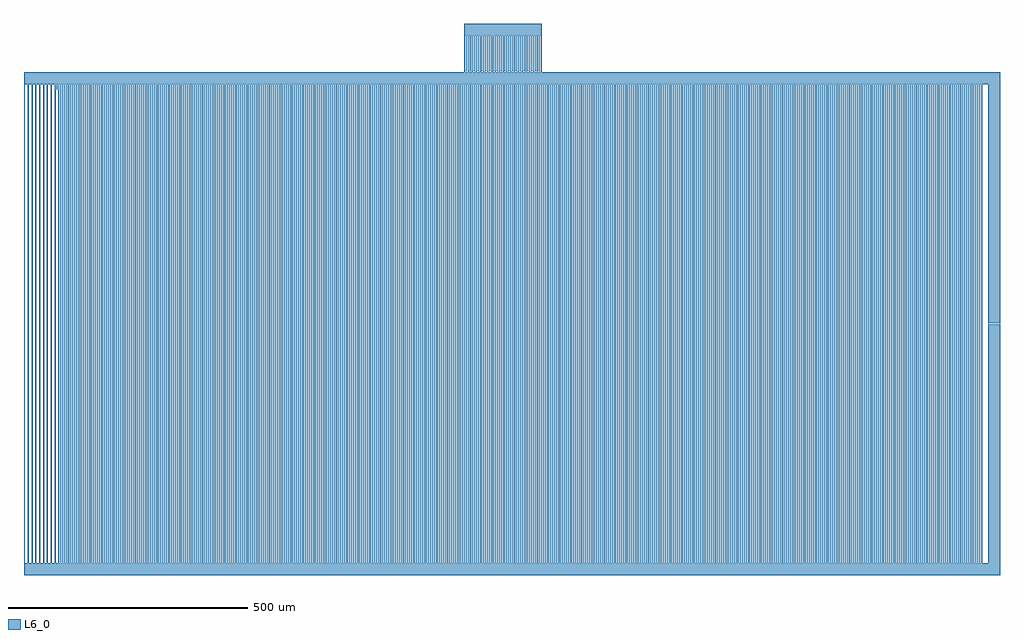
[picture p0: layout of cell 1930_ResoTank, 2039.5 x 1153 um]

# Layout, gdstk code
import gdstk
lib = gdstk.Library(unit=1e-6, precision=1e-09)
def P(c, l, *ps):  # polygons
    for p in ps: c.add(gdstk.Polygon(p, *l))
L6_0 = (6, 0)

c_1930_resotank = lib.new_cell('1930_ResoTank')
P(c_1930_resotank, L6_0, [(54,-7523.25),(54,-7448.25),(50,-7448.25),(50,-7423.25),(212,-7423.25),(212,-7448.25),(208,-7448.25),(208,-7523.25),(206,-7523.25),(206,-7448.25),(200,-7448.25),(200,-7523.25),(198,-7523.25),(198,-7448.25),(192,-7448.25),(192,-7523.25),(190,-7523.25),(190,-7448.25),(184,-7448.25),(184,-7523.25),(182,-7523.25),(182,-7448.25),(176,-7448.25),(176,-7523.25),(174,-7523.25),(174,-7448.25),(168,-7448.25),(168,-7523.25),(166,-7523.25),(166,-7448.25),(160,-7448.25),(160,-7523.25),(158,-7523.25),(158,-7448.25),(152,-7448.25),(152,-7523.25),(150,-7523.25),(150,-7448.25),(144,-7448.25),(144,-7523.25),(142,-7523.25),(142,-7448.25),(136,-7448.25),(136,-7523.25),(134,-7523.25),(134,-7448.25),(128,-7448.25),(128,-7523.25),(126,-7523.25),(126,-7448.25),(120,-7448.25),(120,-7523.25),(118,-7523.25),(118,-7448.25),(112,-7448.25),(112,-7523.25),(110,-7523.25),(110,-7448.25),(104,-7448.25),(104,-7523.25),(102,-7523.25),(102,-7448.25),(96,-7448.25),(96,-7523.25),(94,-7523.25),(94,-7448.25),(88,-7448.25),(88,-7523.25),(86,-7523.25),(86,-7448.25),(80,-7448.25),(80,-7523.25),(78,-7523.25),(78,-7448.25),(72,-7448.25),(72,-7523.25),(70,-7523.25),(70,-7448.25),(64,-7448.25),(64,-7523.25),(62,-7523.25),(62,-7448.25),(56,-7448.25),(56,-7523.25)],
  [(-794,-8549.75),(-794,-7549.75),(-800,-7549.75),(-800,-7560.948),(-802,-7560.948),(-802,-7549.75),(-870,-7549.75),(-870,-7524.75),(-544,-7524.75),(-544,-8549.75),(-546,-8549.75),(-546,-7549.75),(-552,-7549.75),(-552,-8549.75),(-554,-8549.75),(-554,-7549.75),(-560,-7549.75),(-560,-8549.75),(-562,-8549.75),(-562,-7549.75),(-568,-7549.75),(-568,-8549.75),(-570,-8549.75),(-570,-7549.75),(-576,-7549.75),(-576,-8549.75),(-578,-8549.75),(-578,-7549.75),(-584,-7549.75),(-584,-8549.75),(-586,-8549.75),(-586,-7549.75),(-592,-7549.75),(-592,-8549.75),(-594,-8549.75),(-594,-7549.75),(-600,-7549.75),(-600,-8549.75),(-602,-8549.75),(-602,-7549.75),(-608,-7549.75),(-608,-8549.75),(-610,-8549.75),(-610,-7549.75),(-616,-7549.75),(-616,-8549.75),(-618,-8549.75),(-618,-7549.75),(-624,-7549.75),(-624,-8549.75),(-626,-8549.75),(-626,-7549.75),(-632,-7549.75),(-632,-8549.75),(-634,-8549.75),(-634,-7549.75),(-640,-7549.75),(-640,-8549.75),(-642,-8549.75),(-642,-7549.75),(-648,-7549.75),(-648,-8549.75),(-650,-8549.75),(-650,-7549.75),(-656,-7549.75),(-656,-8549.75),(-658,-8549.75),(-658,-7549.75),(-664,-7549.75),(-664,-8549.75),(-666,-8549.75),(-666,-7549.75),(-672,-7549.75),(-672,-8549.75),(-674,-8549.75),(-674,-7549.75),(-680,-7549.75),(-680,-8549.75),(-682,-8549.75),(-682,-7549.75),(-688,-7549.75),(-688,-8549.75),(-690,-8549.75),(-690,-7549.75),(-696,-7549.75),(-696,-8549.75),(-698,-8549.75),(-698,-7549.75),(-704,-7549.75),(-704,-8549.75),(-706,-8549.75),(-706,-7549.75),(-712,-7549.75),(-712,-8549.75),(-714,-8549.75),(-714,-7549.75),(-720,-7549.75),(-720,-8549.75),(-722,-8549.75),(-722,-7549.75),(-728,-7549.75),(-728,-8549.75),(-730,-8549.75),(-730,-7549.75),(-736,-7549.75),(-736,-8549.75),(-738,-8549.75),(-738,-7549.75),(-744,-7549.75),(-744,-8549.75),(-746,-8549.75),(-746,-7549.75),(-752,-7549.75),(-752,-8549.75),(-754,-8549.75),(-754,-7549.75),(-760,-7549.75),(-760,-8549.75),(-762,-8549.75),(-762,-7549.75),(-768,-7549.75),(-768,-8549.75),(-770,-8549.75),(-770,-7549.75),(-776,-7549.75),(-776,-8549.75),(-778,-8549.75),(-778,-7549.75),(-784,-7549.75),(-784,-8549.75),(-786,-8549.75),(-786,-7549.75),(-792,-7549.75),(-792,-8549.75)],
  [(-538,-8549.75),(-538,-7549.75),(-544,-7549.75),(-544,-7524.75),(-280,-7524.75),(-280,-8549.75),(-282,-8549.75),(-282,-7549.75),(-288,-7549.75),(-288,-8549.75),(-290,-8549.75),(-290,-7549.75),(-296,-7549.75),(-296,-8549.75),(-298,-8549.75),(-298,-7549.75),(-304,-7549.75),(-304,-8549.75),(-306,-8549.75),(-306,-7549.75),(-312,-7549.75),(-312,-8549.75),(-314,-8549.75),(-314,-7549.75),(-320,-7549.75),(-320,-8549.75),(-322,-8549.75),(-322,-7549.75),(-328,-7549.75),(-328,-8549.75),(-330,-8549.75),(-330,-7549.75),(-336,-7549.75),(-336,-8549.75),(-338,-8549.75),(-338,-7549.75),(-344,-7549.75),(-344,-8549.75),(-346,-8549.75),(-346,-7549.75),(-352,-7549.75),(-352,-8549.75),(-354,-8549.75),(-354,-7549.75),(-360,-7549.75),(-360,-8549.75),(-362,-8549.75),(-362,-7549.75),(-368,-7549.75),(-368,-8549.75),(-370,-8549.75),(-370,-7549.75),(-376,-7549.75),(-376,-8549.75),(-378,-8549.75),(-378,-7549.75),(-384,-7549.75),(-384,-8549.75),(-386,-8549.75),(-386,-7549.75),(-392,-7549.75),(-392,-8549.75),(-394,-8549.75),(-394,-7549.75),(-400,-7549.75),(-400,-8549.75),(-402,-8549.75),(-402,-7549.75),(-408,-7549.75),(-408,-8549.75),(-410,-8549.75),(-410,-7549.75),(-416,-7549.75),(-416,-8549.75),(-418,-8549.75),(-418,-7549.75),(-424,-7549.75),(-424,-8549.75),(-426,-8549.75),(-426,-7549.75),(-432,-7549.75),(-432,-8549.75),(-434,-8549.75),(-434,-7549.75),(-440,-7549.75),(-440,-8549.75),(-442,-8549.75),(-442,-7549.75),(-448,-7549.75),(-448,-8549.75),(-450,-8549.75),(-450,-7549.75),(-456,-7549.75),(-456,-8549.75),(-458,-8549.75),(-458,-7549.75),(-464,-7549.75),(-464,-8549.75),(-466,-8549.75),(-466,-7549.75),(-472,-7549.75),(-472,-8549.75),(-474,-8549.75),(-474,-7549.75),(-480,-7549.75),(-480,-8549.75),(-482,-8549.75),(-482,-7549.75),(-488,-7549.75),(-488,-8549.75),(-490,-8549.75),(-490,-7549.75),(-496,-7549.75),(-496,-8549.75),(-498,-8549.75),(-498,-7549.75),(-504,-7549.75),(-504,-8549.75),(-506,-8549.75),(-506,-7549.75),(-512,-7549.75),(-512,-8549.75),(-514,-8549.75),(-514,-7549.75),(-520,-7549.75),(-520,-8549.75),(-522,-8549.75),(-522,-7549.75),(-528,-7549.75),(-528,-8549.75),(-530,-8549.75),(-530,-7549.75),(-536,-7549.75),(-536,-8549.75)],
  [(-274,-8549.75),(-274,-7549.75),(-280,-7549.75),(-280,-7524.75),(-16,-7524.75),(-16,-8549.75),(-18,-8549.75),(-18,-7549.75),(-24,-7549.75),(-24,-8549.75),(-26,-8549.75),(-26,-7549.75),(-32,-7549.75),(-32,-8549.75),(-34,-8549.75),(-34,-7549.75),(-40,-7549.75),(-40,-8549.75),(-42,-8549.75),(-42,-7549.75),(-48,-7549.75),(-48,-8549.75),(-50,-8549.75),(-50,-7549.75),(-56,-7549.75),(-56,-8549.75),(-58,-8549.75),(-58,-7549.75),(-64,-7549.75),(-64,-8549.75),(-66,-8549.75),(-66,-7549.75),(-72,-7549.75),(-72,-8549.75),(-74,-8549.75),(-74,-7549.75),(-80,-7549.75),(-80,-8549.75),(-82,-8549.75),(-82,-7549.75),(-88,-7549.75),(-88,-8549.75),(-90,-8549.75),(-90,-7549.75),(-96,-7549.75),(-96,-8549.75),(-98,-8549.75),(-98,-7549.75),(-104,-7549.75),(-104,-8549.75),(-106,-8549.75),(-106,-7549.75),(-112,-7549.75),(-112,-8549.75),(-114,-8549.75),(-114,-7549.75),(-120,-7549.75),(-120,-8549.75),(-122,-8549.75),(-122,-7549.75),(-128,-7549.75),(-128,-8549.75),(-130,-8549.75),(-130,-7549.75),(-136,-7549.75),(-136,-8549.75),(-138,-8549.75),(-138,-7549.75),(-144,-7549.75),(-144,-8549.75),(-146,-8549.75),(-146,-7549.75),(-152,-7549.75),(-152,-8549.75),(-154,-8549.75),(-154,-7549.75),(-160,-7549.75),(-160,-8549.75),(-162,-8549.75),(-162,-7549.75),(-168,-7549.75),(-168,-8549.75),(-170,-8549.75),(-170,-7549.75),(-176,-7549.75),(-176,-8549.75),(-178,-8549.75),(-178,-7549.75),(-184,-7549.75),(-184,-8549.75),(-186,-8549.75),(-186,-7549.75),(-192,-7549.75),(-192,-8549.75),(-194,-8549.75),(-194,-7549.75),(-200,-7549.75),(-200,-8549.75),(-202,-8549.75),(-202,-7549.75),(-208,-7549.75),(-208,-8549.75),(-210,-8549.75),(-210,-7549.75),(-216,-7549.75),(-216,-8549.75),(-218,-8549.75),(-218,-7549.75),(-224,-7549.75),(-224,-8549.75),(-226,-8549.75),(-226,-7549.75),(-232,-7549.75),(-232,-8549.75),(-234,-8549.75),(-234,-7549.75),(-240,-7549.75),(-240,-8549.75),(-242,-8549.75),(-242,-7549.75),(-248,-7549.75),(-248,-8549.75),(-250,-8549.75),(-250,-7549.75),(-256,-7549.75),(-256,-8549.75),(-258,-8549.75),(-258,-7549.75),(-264,-7549.75),(-264,-8549.75),(-266,-8549.75),(-266,-7549.75),(-272,-7549.75),(-272,-8549.75)],
  [(-10,-8549.75),(-10,-7549.75),(-16,-7549.75),(-16,-7524.75),(50,-7524.75),(50,-7449.75),(52,-7449.75),(52,-7524.75),(58,-7524.75),(58,-7449.75),(60,-7449.75),(60,-7524.75),(66,-7524.75),(66,-7449.75),(68,-7449.75),(68,-7524.75),(74,-7524.75),(74,-7449.75),(76,-7449.75),(76,-7524.75),(82,-7524.75),(82,-7449.75),(84,-7449.75),(84,-7524.75),(90,-7524.75),(90,-7449.75),(92,-7449.75),(92,-7524.75),(98,-7524.75),(98,-7449.75),(100,-7449.75),(100,-7524.75),(106,-7524.75),(106,-7449.75),(108,-7449.75),(108,-7524.75),(114,-7524.75),(114,-7449.75),(116,-7449.75),(116,-7524.75),(122,-7524.75),(122,-7449.75),(124,-7449.75),(124,-7524.75),(130,-7524.75),(130,-7449.75),(132,-7449.75),(132,-7524.75),(138,-7524.75),(138,-7449.75),(140,-7449.75),(140,-7524.75),(146,-7524.75),(146,-7449.75),(148,-7449.75),(148,-7549.75),(144,-7549.75),(144,-8549.75),(142,-8549.75),(142,-7549.75),(136,-7549.75),(136,-8549.75),(134,-8549.75),(134,-7549.75),(128,-7549.75),(128,-8549.75),(126,-8549.75),(126,-7549.75),(120,-7549.75),(120,-8549.75),(118,-8549.75),(118,-7549.75),(112,-7549.75),(112,-8549.75),(110,-8549.75),(110,-7549.75),(104,-7549.75),(104,-8549.75),(102,-8549.75),(102,-7549.75),(96,-7549.75),(96,-8549.75),(94,-8549.75),(94,-7549.75),(88,-7549.75),(88,-8549.75),(86,-8549.75),(86,-7549.75),(80,-7549.75),(80,-8549.75),(78,-8549.75),(78,-7549.75),(72,-7549.75),(72,-8549.75),(70,-8549.75),(70,-7549.75),(64,-7549.75),(64,-8549.75),(62,-8549.75),(62,-7549.75),(56,-7549.75),(56,-8549.75),(54,-8549.75),(54,-7549.75),(48,-7549.75),(48,-8549.75),(46,-8549.75),(46,-7549.75),(40,-7549.75),(40,-8549.75),(38,-8549.75),(38,-7549.75),(32,-7549.75),(32,-8549.75),(30,-8549.75),(30,-7549.75),(24,-7549.75),(24,-8549.75),(22,-8549.75),(22,-7549.75),(16,-7549.75),(16,-8549.75),(14,-8549.75),(14,-7549.75),(8,-7549.75),(8,-8549.75),(6,-8549.75),(6,-7549.75),(0,-7549.75),(0,-8549.75),(-2,-8549.75),(-2,-7549.75),(-8,-7549.75),(-8,-8549.75)],
  [(150,-8549.75),(150,-7549.75),(148,-7549.75),(148,-7524.75),(154,-7524.75),(154,-7449.75),(156,-7449.75),(156,-7524.75),(162,-7524.75),(162,-7449.75),(164,-7449.75),(164,-7524.75),(170,-7524.75),(170,-7449.75),(172,-7449.75),(172,-7524.75),(178,-7524.75),(178,-7449.75),(180,-7449.75),(180,-7524.75),(186,-7524.75),(186,-7449.75),(188,-7449.75),(188,-7524.75),(194,-7524.75),(194,-7449.75),(196,-7449.75),(196,-7524.75),(202,-7524.75),(202,-7449.75),(204,-7449.75),(204,-7524.75),(210,-7524.75),(210,-7449.75),(212,-7449.75),(212,-7524.75),(344,-7524.75),(344,-8549.75),(342,-8549.75),(342,-7549.75),(336,-7549.75),(336,-8549.75),(334,-8549.75),(334,-7549.75),(328,-7549.75),(328,-8549.75),(326,-8549.75),(326,-7549.75),(320,-7549.75),(320,-8549.75),(318,-8549.75),(318,-7549.75),(312,-7549.75),(312,-8549.75),(310,-8549.75),(310,-7549.75),(304,-7549.75),(304,-8549.75),(302,-8549.75),(302,-7549.75),(296,-7549.75),(296,-8549.75),(294,-8549.75),(294,-7549.75),(288,-7549.75),(288,-8549.75),(286,-8549.75),(286,-7549.75),(280,-7549.75),(280,-8549.75),(278,-8549.75),(278,-7549.75),(272,-7549.75),(272,-8549.75),(270,-8549.75),(270,-7549.75),(264,-7549.75),(264,-8549.75),(262,-8549.75),(262,-7549.75),(256,-7549.75),(256,-8549.75),(254,-8549.75),(254,-7549.75),(248,-7549.75),(248,-8549.75),(246,-8549.75),(246,-7549.75),(240,-7549.75),(240,-8549.75),(238,-8549.75),(238,-7549.75),(232,-7549.75),(232,-8549.75),(230,-8549.75),(230,-7549.75),(224,-7549.75),(224,-8549.75),(222,-8549.75),(222,-7549.75),(216,-7549.75),(216,-8549.75),(214,-8549.75),(214,-7549.75),(208,-7549.75),(208,-8549.75),(206,-8549.75),(206,-7549.75),(200,-7549.75),(200,-8549.75),(198,-8549.75),(198,-7549.75),(192,-7549.75),(192,-8549.75),(190,-8549.75),(190,-7549.75),(184,-7549.75),(184,-8549.75),(182,-8549.75),(182,-7549.75),(176,-7549.75),(176,-8549.75),(174,-8549.75),(174,-7549.75),(168,-7549.75),(168,-8549.75),(166,-8549.75),(166,-7549.75),(160,-7549.75),(160,-8549.75),(158,-8549.75),(158,-7549.75),(152,-7549.75),(152,-8549.75)],
  [(350,-8549.75),(350,-7549.75),(344,-7549.75),(344,-7524.75),(608,-7524.75),(608,-8549.75),(606,-8549.75),(606,-7549.75),(600,-7549.75),(600,-8549.75),(598,-8549.75),(598,-7549.75),(592,-7549.75),(592,-8549.75),(590,-8549.75),(590,-7549.75),(584,-7549.75),(584,-8549.75),(582,-8549.75),(582,-7549.75),(576,-7549.75),(576,-8549.75),(574,-8549.75),(574,-7549.75),(568,-7549.75),(568,-8549.75),(566,-8549.75),(566,-7549.75),(560,-7549.75),(560,-8549.75),(558,-8549.75),(558,-7549.75),(552,-7549.75),(552,-8549.75),(550,-8549.75),(550,-7549.75),(544,-7549.75),(544,-8549.75),(542,-8549.75),(542,-7549.75),(536,-7549.75),(536,-8549.75),(534,-8549.75),(534,-7549.75),(528,-7549.75),(528,-8549.75),(526,-8549.75),(526,-7549.75),(520,-7549.75),(520,-8549.75),(518,-8549.75),(518,-7549.75),(512,-7549.75),(512,-8549.75),(510,-8549.75),(510,-7549.75),(504,-7549.75),(504,-8549.75),(502,-8549.75),(502,-7549.75),(496,-7549.75),(496,-8549.75),(494,-8549.75),(494,-7549.75),(488,-7549.75),(488,-8549.75),(486,-8549.75),(486,-7549.75),(480,-7549.75),(480,-8549.75),(478,-8549.75),(478,-7549.75),(472,-7549.75),(472,-8549.75),(470,-8549.75),(470,-7549.75),(464,-7549.75),(464,-8549.75),(462,-8549.75),(462,-7549.75),(456,-7549.75),(456,-8549.75),(454,-8549.75),(454,-7549.75),(448,-7549.75),(448,-8549.75),(446,-8549.75),(446,-7549.75),(440,-7549.75),(440,-8549.75),(438,-8549.75),(438,-7549.75),(432,-7549.75),(432,-8549.75),(430,-8549.75),(430,-7549.75),(424,-7549.75),(424,-8549.75),(422,-8549.75),(422,-7549.75),(416,-7549.75),(416,-8549.75),(414,-8549.75),(414,-7549.75),(408,-7549.75),(408,-8549.75),(406,-8549.75),(406,-7549.75),(400,-7549.75),(400,-8549.75),(398,-8549.75),(398,-7549.75),(392,-7549.75),(392,-8549.75),(390,-8549.75),(390,-7549.75),(384,-7549.75),(384,-8549.75),(382,-8549.75),(382,-7549.75),(376,-7549.75),(376,-8549.75),(374,-8549.75),(374,-7549.75),(368,-7549.75),(368,-8549.75),(366,-8549.75),(366,-7549.75),(360,-7549.75),(360,-8549.75),(358,-8549.75),(358,-7549.75),(352,-7549.75),(352,-8549.75)],
  [(614,-8549.75),(614,-7549.75),(608,-7549.75),(608,-7524.75),(872,-7524.75),(872,-8549.75),(870,-8549.75),(870,-7549.75),(864,-7549.75),(864,-8549.75),(862,-8549.75),(862,-7549.75),(856,-7549.75),(856,-8549.75),(854,-8549.75),(854,-7549.75),(848,-7549.75),(848,-8549.75),(846,-8549.75),(846,-7549.75),(840,-7549.75),(840,-8549.75),(838,-8549.75),(838,-7549.75),(832,-7549.75),(832,-8549.75),(830,-8549.75),(830,-7549.75),(824,-7549.75),(824,-8549.75),(822,-8549.75),(822,-7549.75),(816,-7549.75),(816,-8549.75),(814,-8549.75),(814,-7549.75),(808,-7549.75),(808,-8549.75),(806,-8549.75),(806,-7549.75),(800,-7549.75),(800,-8549.75),(798,-8549.75),(798,-7549.75),(792,-7549.75),(792,-8549.75),(790,-8549.75),(790,-7549.75),(784,-7549.75),(784,-8549.75),(782,-8549.75),(782,-7549.75),(776,-7549.75),(776,-8549.75),(774,-8549.75),(774,-7549.75),(768,-7549.75),(768,-8549.75),(766,-8549.75),(766,-7549.75),(760,-7549.75),(760,-8549.75),(758,-8549.75),(758,-7549.75),(752,-7549.75),(752,-8549.75),(750,-8549.75),(750,-7549.75),(744,-7549.75),(744,-8549.75),(742,-8549.75),(742,-7549.75),(736,-7549.75),(736,-8549.75),(734,-8549.75),(734,-7549.75),(728,-7549.75),(728,-8549.75),(726,-8549.75),(726,-7549.75),(720,-7549.75),(720,-8549.75),(718,-8549.75),(718,-7549.75),(712,-7549.75),(712,-8549.75),(710,-8549.75),(710,-7549.75),(704,-7549.75),(704,-8549.75),(702,-8549.75),(702,-7549.75),(696,-7549.75),(696,-8549.75),(694,-8549.75),(694,-7549.75),(688,-7549.75),(688,-8549.75),(686,-8549.75),(686,-7549.75),(680,-7549.75),(680,-8549.75),(678,-8549.75),(678,-7549.75),(672,-7549.75),(672,-8549.75),(670,-8549.75),(670,-7549.75),(664,-7549.75),(664,-8549.75),(662,-8549.75),(662,-7549.75),(656,-7549.75),(656,-8549.75),(654,-8549.75),(654,-7549.75),(648,-7549.75),(648,-8549.75),(646,-8549.75),(646,-7549.75),(640,-7549.75),(640,-8549.75),(638,-8549.75),(638,-7549.75),(632,-7549.75),(632,-8549.75),(630,-8549.75),(630,-7549.75),(624,-7549.75),(624,-8549.75),(622,-8549.75),(622,-7549.75),(616,-7549.75),(616,-8549.75)],
  [(878,-8549.75),(878,-7549.75),(872,-7549.75),(872,-7524.75),(1169.5,-7524.75),(1169.5,-8049.5),(1144.5,-8049.5),(1144.5,-7549.75),(1128,-7549.75),(1128,-8549.75),(1126,-8549.75),(1126,-7549.75),(1120,-7549.75),(1120,-8549.75),(1118,-8549.75),(1118,-7549.75),(1112,-7549.75),(1112,-8549.75),(1110,-8549.75),(1110,-7549.75),(1104,-7549.75),(1104,-8549.75),(1102,-8549.75),(1102,-7549.75),(1096,-7549.75),(1096,-8549.75),(1094,-8549.75),(1094,-7549.75),(1088,-7549.75),(1088,-8549.75),(1086,-8549.75),(1086,-7549.75),(1080,-7549.75),(1080,-8549.75),(1078,-8549.75),(1078,-7549.75),(1072,-7549.75),(1072,-8549.75),(1070,-8549.75),(1070,-7549.75),(1064,-7549.75),(1064,-8549.75),(1062,-8549.75),(1062,-7549.75),(1056,-7549.75),(1056,-8549.75),(1054,-8549.75),(1054,-7549.75),(1048,-7549.75),(1048,-8549.75),(1046,-8549.75),(1046,-7549.75),(1040,-7549.75),(1040,-8549.75),(1038,-8549.75),(1038,-7549.75),(1032,-7549.75),(1032,-8549.75),(1030,-8549.75),(1030,-7549.75),(1024,-7549.75),(1024,-8549.75),(1022,-8549.75),(1022,-7549.75),(1016,-7549.75),(1016,-8549.75),(1014,-8549.75),(1014,-7549.75),(1008,-7549.75),(1008,-8549.75),(1006,-8549.75),(1006,-7549.75),(1000,-7549.75),(1000,-8549.75),(998,-8549.75),(998,-7549.75),(992,-7549.75),(992,-8549.75),(990,-8549.75),(990,-7549.75),(984,-7549.75),(984,-8549.75),(982,-8549.75),(982,-7549.75),(976,-7549.75),(976,-8549.75),(974,-8549.75),(974,-7549.75),(968,-7549.75),(968,-8549.75),(966,-8549.75),(966,-7549.75),(960,-7549.75),(960,-8549.75),(958,-8549.75),(958,-7549.75),(952,-7549.75),(952,-8549.75),(950,-8549.75),(950,-7549.75),(944,-7549.75),(944,-8549.75),(942,-8549.75),(942,-7549.75),(936,-7549.75),(936,-8549.75),(934,-8549.75),(934,-7549.75),(928,-7549.75),(928,-8549.75),(926,-8549.75),(926,-7549.75),(920,-7549.75),(920,-8549.75),(918,-8549.75),(918,-7549.75),(912,-7549.75),(912,-8549.75),(910,-8549.75),(910,-7549.75),(904,-7549.75),(904,-8549.75),(902,-8549.75),(902,-7549.75),(896,-7549.75),(896,-8549.75),(894,-8549.75),(894,-7549.75),(888,-7549.75),(888,-8549.75),(886,-8549.75),(886,-7549.75),(880,-7549.75),(880,-8549.75)],
  [(-870,-8576.25),(-870,-7551.25),(-868,-7551.25),(-868,-8551.25),(-862,-8551.25),(-862,-7551.25),(-860,-7551.25),(-860,-8551.25),(-854,-8551.25),(-854,-7551.25),(-852,-7551.25),(-852,-8551.25),(-846,-8551.25),(-846,-7551.25),(-844,-7551.25),(-844,-8551.25),(-838,-8551.25),(-838,-7551.25),(-836,-7551.25),(-836,-8551.25),(-830,-8551.25),(-830,-7551.25),(-828,-7551.25),(-828,-8551.25),(-822,-8551.25),(-822,-7551.25),(-820,-7551.25),(-820,-8551.25),(-814,-8551.25),(-814,-7551.25),(-812,-7551.25),(-812,-8551.25),(-806,-8551.25),(-806,-7551.25),(-804,-7551.25),(-804,-8551.25),(-798,-8551.25),(-798,-7551.25),(-796,-7551.25),(-796,-8551.25),(-790,-8551.25),(-790,-7551.25),(-788,-7551.25),(-788,-8551.25),(-782,-8551.25),(-782,-7551.25),(-780,-7551.25),(-780,-8551.25),(-774,-8551.25),(-774,-7551.25),(-772,-7551.25),(-772,-8551.25),(-766,-8551.25),(-766,-7551.25),(-764,-7551.25),(-764,-8551.25),(-758,-8551.25),(-758,-7551.25),(-756,-7551.25),(-756,-8551.25),(-750,-8551.25),(-750,-7551.25),(-748,-7551.25),(-748,-8551.25),(-742,-8551.25),(-742,-7551.25),(-740,-7551.25),(-740,-8551.25),(-734,-8551.25),(-734,-7551.25),(-732,-7551.25),(-732,-8551.25),(-726,-8551.25),(-726,-7551.25),(-724,-7551.25),(-724,-8551.25),(-718,-8551.25),(-718,-7551.25),(-716,-7551.25),(-716,-8551.25),(-710,-8551.25),(-710,-7551.25),(-708,-7551.25),(-708,-8551.25),(-702,-8551.25),(-702,-7551.25),(-700,-7551.25),(-700,-8551.25),(-694,-8551.25),(-694,-7551.25),(-692,-7551.25),(-692,-8551.25),(-686,-8551.25),(-686,-7551.25),(-684,-7551.25),(-684,-8551.25),(-678,-8551.25),(-678,-7551.25),(-676,-7551.25),(-676,-8551.25),(-670,-8551.25),(-670,-7551.25),(-668,-7551.25),(-668,-8551.25),(-662,-8551.25),(-662,-7551.25),(-660,-7551.25),(-660,-8551.25),(-654,-8551.25),(-654,-7551.25),(-652,-7551.25),(-652,-8551.25),(-646,-8551.25),(-646,-7551.25),(-644,-7551.25),(-644,-8551.25),(-638,-8551.25),(-638,-7551.25),(-636,-7551.25),(-636,-8551.25),(-630,-8551.25),(-630,-7551.25),(-628,-7551.25),(-628,-8551.25),(-622,-8551.25),(-622,-8576.25)],
  [(-622,-8576.25),(-622,-7551.25),(-620,-7551.25),(-620,-8551.25),(-614,-8551.25),(-614,-7551.25),(-612,-7551.25),(-612,-8551.25),(-606,-8551.25),(-606,-7551.25),(-604,-7551.25),(-604,-8551.25),(-598,-8551.25),(-598,-7551.25),(-596,-7551.25),(-596,-8551.25),(-590,-8551.25),(-590,-7551.25),(-588,-7551.25),(-588,-8551.25),(-582,-8551.25),(-582,-7551.25),(-580,-7551.25),(-580,-8551.25),(-574,-8551.25),(-574,-7551.25),(-572,-7551.25),(-572,-8551.25),(-566,-8551.25),(-566,-7551.25),(-564,-7551.25),(-564,-8551.25),(-558,-8551.25),(-558,-7551.25),(-556,-7551.25),(-556,-8551.25),(-550,-8551.25),(-550,-7551.25),(-548,-7551.25),(-548,-8551.25),(-542,-8551.25),(-542,-7551.25),(-540,-7551.25),(-540,-8551.25),(-534,-8551.25),(-534,-7551.25),(-532,-7551.25),(-532,-8551.25),(-526,-8551.25),(-526,-7551.25),(-524,-7551.25),(-524,-8551.25),(-518,-8551.25),(-518,-7551.25),(-516,-7551.25),(-516,-8551.25),(-510,-8551.25),(-510,-7551.25),(-508,-7551.25),(-508,-8551.25),(-502,-8551.25),(-502,-7551.25),(-500,-7551.25),(-500,-8551.25),(-494,-8551.25),(-494,-7551.25),(-492,-7551.25),(-492,-8551.25),(-486,-8551.25),(-486,-7551.25),(-484,-7551.25),(-484,-8551.25),(-478,-8551.25),(-478,-7551.25),(-476,-7551.25),(-476,-8551.25),(-470,-8551.25),(-470,-7551.25),(-468,-7551.25),(-468,-8551.25),(-462,-8551.25),(-462,-7551.25),(-460,-7551.25),(-460,-8551.25),(-454,-8551.25),(-454,-7551.25),(-452,-7551.25),(-452,-8551.25),(-446,-8551.25),(-446,-7551.25),(-444,-7551.25),(-444,-8551.25),(-438,-8551.25),(-438,-7551.25),(-436,-7551.25),(-436,-8551.25),(-430,-8551.25),(-430,-7551.25),(-428,-7551.25),(-428,-8551.25),(-422,-8551.25),(-422,-7551.25),(-420,-7551.25),(-420,-8551.25),(-414,-8551.25),(-414,-7551.25),(-412,-7551.25),(-412,-8551.25),(-406,-8551.25),(-406,-7551.25),(-404,-7551.25),(-404,-8551.25),(-398,-8551.25),(-398,-7551.25),(-396,-7551.25),(-396,-8551.25),(-390,-8551.25),(-390,-7551.25),(-388,-7551.25),(-388,-8551.25),(-382,-8551.25),(-382,-7551.25),(-380,-7551.25),(-380,-8551.25),(-374,-8551.25),(-374,-7551.25),(-372,-7551.25),(-372,-8576.25)],
  [(-372,-8576.25),(-372,-8551.25),(-366,-8551.25),(-366,-7551.25),(-364,-7551.25),(-364,-8551.25),(-358,-8551.25),(-358,-7551.25),(-356,-7551.25),(-356,-8551.25),(-350,-8551.25),(-350,-7551.25),(-348,-7551.25),(-348,-8551.25),(-342,-8551.25),(-342,-7551.25),(-340,-7551.25),(-340,-8551.25),(-334,-8551.25),(-334,-7551.25),(-332,-7551.25),(-332,-8551.25),(-326,-8551.25),(-326,-7551.25),(-324,-7551.25),(-324,-8551.25),(-318,-8551.25),(-318,-7551.25),(-316,-7551.25),(-316,-8551.25),(-310,-8551.25),(-310,-7551.25),(-308,-7551.25),(-308,-8551.25),(-302,-8551.25),(-302,-7551.25),(-300,-7551.25),(-300,-8551.25),(-294,-8551.25),(-294,-7551.25),(-292,-7551.25),(-292,-8551.25),(-286,-8551.25),(-286,-7551.25),(-284,-7551.25),(-284,-8551.25),(-278,-8551.25),(-278,-7551.25),(-276,-7551.25),(-276,-8551.25),(-270,-8551.25),(-270,-7551.25),(-268,-7551.25),(-268,-8551.25),(-262,-8551.25),(-262,-7551.25),(-260,-7551.25),(-260,-8551.25),(-254,-8551.25),(-254,-7551.25),(-252,-7551.25),(-252,-8551.25),(-246,-8551.25),(-246,-7551.25),(-244,-7551.25),(-244,-8551.25),(-238,-8551.25),(-238,-7551.25),(-236,-7551.25),(-236,-8551.25),(-230,-8551.25),(-230,-7551.25),(-228,-7551.25),(-228,-8551.25),(-222,-8551.25),(-222,-7551.25),(-220,-7551.25),(-220,-8551.25),(-214,-8551.25),(-214,-7551.25),(-212,-7551.25),(-212,-8551.25),(-206,-8551.25),(-206,-7551.25),(-204,-7551.25),(-204,-8551.25),(-198,-8551.25),(-198,-7551.25),(-196,-7551.25),(-196,-8551.25),(-190,-8551.25),(-190,-7551.25),(-188,-7551.25),(-188,-8551.25),(-182,-8551.25),(-182,-7551.25),(-180,-7551.25),(-180,-8551.25),(-174,-8551.25),(-174,-7551.25),(-172,-7551.25),(-172,-8551.25),(-166,-8551.25),(-166,-7551.25),(-164,-7551.25),(-164,-8551.25),(-158,-8551.25),(-158,-7551.25),(-156,-7551.25),(-156,-8551.25),(-150,-8551.25),(-150,-7551.25),(-148,-7551.25),(-148,-8551.25),(-142,-8551.25),(-142,-7551.25),(-140,-7551.25),(-140,-8551.25),(-134,-8551.25),(-134,-7551.25),(-132,-7551.25),(-132,-8551.25),(-126,-8551.25),(-126,-7551.25),(-124,-7551.25),(-124,-8551.25),(-118,-8551.25),(-118,-8576.25)],
  [(-118,-8576.25),(-118,-7551.25),(-116,-7551.25),(-116,-8551.25),(-110,-8551.25),(-110,-7551.25),(-108,-7551.25),(-108,-8551.25),(-102,-8551.25),(-102,-7551.25),(-100,-7551.25),(-100,-8551.25),(-94,-8551.25),(-94,-7551.25),(-92,-7551.25),(-92,-8551.25),(-86,-8551.25),(-86,-7551.25),(-84,-7551.25),(-84,-8551.25),(-78,-8551.25),(-78,-7551.25),(-76,-7551.25),(-76,-8551.25),(-70,-8551.25),(-70,-7551.25),(-68,-7551.25),(-68,-8551.25),(-62,-8551.25),(-62,-7551.25),(-60,-7551.25),(-60,-8551.25),(-54,-8551.25),(-54,-7551.25),(-52,-7551.25),(-52,-8551.25),(-46,-8551.25),(-46,-7551.25),(-44,-7551.25),(-44,-8551.25),(-38,-8551.25),(-38,-7551.25),(-36,-7551.25),(-36,-8551.25),(-30,-8551.25),(-30,-7551.25),(-28,-7551.25),(-28,-8551.25),(-22,-8551.25),(-22,-7551.25),(-20,-7551.25),(-20,-8551.25),(-14,-8551.25),(-14,-7551.25),(-12,-7551.25),(-12,-8551.25),(-6,-8551.25),(-6,-7551.25),(-4,-7551.25),(-4,-8551.25),(2,-8551.25),(2,-7551.25),(4,-7551.25),(4,-8551.25),(10,-8551.25),(10,-7551.25),(12,-7551.25),(12,-8551.25),(18,-8551.25),(18,-7551.25),(20,-7551.25),(20,-8551.25),(26,-8551.25),(26,-7551.25),(28,-7551.25),(28,-8551.25),(34,-8551.25),(34,-7551.25),(36,-7551.25),(36,-8551.25),(42,-8551.25),(42,-7551.25),(44,-7551.25),(44,-8551.25),(50,-8551.25),(50,-7551.25),(52,-7551.25),(52,-8551.25),(58,-8551.25),(58,-7551.25),(60,-7551.25),(60,-8551.25),(66,-8551.25),(66,-7551.25),(68,-7551.25),(68,-8551.25),(74,-8551.25),(74,-7551.25),(76,-7551.25),(76,-8551.25),(82,-8551.25),(82,-7551.25),(84,-7551.25),(84,-8551.25),(90,-8551.25),(90,-7551.25),(92,-7551.25),(92,-8551.25),(98,-8551.25),(98,-7551.25),(100,-7551.25),(100,-8551.25),(106,-8551.25),(106,-7551.25),(108,-7551.25),(108,-8551.25),(114,-8551.25),(114,-7551.25),(116,-7551.25),(116,-8551.25),(122,-8551.25),(122,-7551.25),(124,-7551.25),(124,-8551.25),(130,-8551.25),(130,-7551.25),(132,-7551.25),(132,-8576.25)],
  [(132,-8576.25),(132,-8551.25),(138,-8551.25),(138,-7551.25),(140,-7551.25),(140,-8551.25),(146,-8551.25),(146,-7551.25),(148,-7551.25),(148,-8551.25),(154,-8551.25),(154,-7551.25),(156,-7551.25),(156,-8551.25),(162,-8551.25),(162,-7551.25),(164,-7551.25),(164,-8551.25),(170,-8551.25),(170,-7551.25),(172,-7551.25),(172,-8551.25),(178,-8551.25),(178,-7551.25),(180,-7551.25),(180,-8551.25),(186,-8551.25),(186,-7551.25),(188,-7551.25),(188,-8551.25),(194,-8551.25),(194,-7551.25),(196,-7551.25),(196,-8551.25),(202,-8551.25),(202,-7551.25),(204,-7551.25),(204,-8551.25),(210,-8551.25),(210,-7551.25),(212,-7551.25),(212,-8551.25),(218,-8551.25),(218,-7551.25),(220,-7551.25),(220,-8551.25),(226,-8551.25),(226,-7551.25),(228,-7551.25),(228,-8551.25),(234,-8551.25),(234,-7551.25),(236,-7551.25),(236,-8551.25),(242,-8551.25),(242,-7551.25),(244,-7551.25),(244,-8551.25),(250,-8551.25),(250,-7551.25),(252,-7551.25),(252,-8551.25),(258,-8551.25),(258,-7551.25),(260,-7551.25),(260,-8551.25),(266,-8551.25),(266,-7551.25),(268,-7551.25),(268,-8551.25),(274,-8551.25),(274,-7551.25),(276,-7551.25),(276,-8551.25),(282,-8551.25),(282,-7551.25),(284,-7551.25),(284,-8551.25),(290,-8551.25),(290,-7551.25),(292,-7551.25),(292,-8551.25),(298,-8551.25),(298,-7551.25),(300,-7551.25),(300,-8551.25),(306,-8551.25),(306,-7551.25),(308,-7551.25),(308,-8551.25),(314,-8551.25),(314,-7551.25),(316,-7551.25),(316,-8551.25),(322,-8551.25),(322,-7551.25),(324,-7551.25),(324,-8551.25),(330,-8551.25),(330,-7551.25),(332,-7551.25),(332,-8551.25),(338,-8551.25),(338,-7551.25),(340,-7551.25),(340,-8551.25),(346,-8551.25),(346,-7551.25),(348,-7551.25),(348,-8551.25),(354,-8551.25),(354,-7551.25),(356,-7551.25),(356,-8551.25),(362,-8551.25),(362,-7551.25),(364,-7551.25),(364,-8551.25),(370,-8551.25),(370,-7551.25),(372,-7551.25),(372,-8551.25),(378,-8551.25),(378,-7551.25),(380,-7551.25),(380,-8551.25),(386,-8551.25),(386,-8576.25)],
  [(386,-8576.25),(386,-7551.25),(388,-7551.25),(388,-8551.25),(394,-8551.25),(394,-7551.25),(396,-7551.25),(396,-8551.25),(402,-8551.25),(402,-7551.25),(404,-7551.25),(404,-8551.25),(410,-8551.25),(410,-7551.25),(412,-7551.25),(412,-8551.25),(418,-8551.25),(418,-7551.25),(420,-7551.25),(420,-8551.25),(426,-8551.25),(426,-7551.25),(428,-7551.25),(428,-8551.25),(434,-8551.25),(434,-7551.25),(436,-7551.25),(436,-8551.25),(442,-8551.25),(442,-7551.25),(444,-7551.25),(444,-8551.25),(450,-8551.25),(450,-7551.25),(452,-7551.25),(452,-8551.25),(458,-8551.25),(458,-7551.25),(460,-7551.25),(460,-8551.25),(466,-8551.25),(466,-7551.25),(468,-7551.25),(468,-8551.25),(474,-8551.25),(474,-7551.25),(476,-7551.25),(476,-8551.25),(482,-8551.25),(482,-7551.25),(484,-7551.25),(484,-8551.25),(490,-8551.25),(490,-7551.25),(492,-7551.25),(492,-8551.25),(498,-8551.25),(498,-7551.25),(500,-7551.25),(500,-8551.25),(506,-8551.25),(506,-7551.25),(508,-7551.25),(508,-8551.25),(514,-8551.25),(514,-7551.25),(516,-7551.25),(516,-8551.25),(522,-8551.25),(522,-7551.25),(524,-7551.25),(524,-8551.25),(530,-8551.25),(530,-7551.25),(532,-7551.25),(532,-8551.25),(538,-8551.25),(538,-7551.25),(540,-7551.25),(540,-8551.25),(546,-8551.25),(546,-7551.25),(548,-7551.25),(548,-8551.25),(554,-8551.25),(554,-7551.25),(556,-7551.25),(556,-8551.25),(562,-8551.25),(562,-7551.25),(564,-7551.25),(564,-8551.25),(570,-8551.25),(570,-7551.25),(572,-7551.25),(572,-8551.25),(578,-8551.25),(578,-7551.25),(580,-7551.25),(580,-8551.25),(586,-8551.25),(586,-7551.25),(588,-7551.25),(588,-8551.25),(594,-8551.25),(594,-7551.25),(596,-7551.25),(596,-8551.25),(602,-8551.25),(602,-7551.25),(604,-7551.25),(604,-8551.25),(610,-8551.25),(610,-7551.25),(612,-7551.25),(612,-8551.25),(618,-8551.25),(618,-7551.25),(620,-7551.25),(620,-8551.25),(626,-8551.25),(626,-7551.25),(628,-7551.25),(628,-8551.25),(634,-8551.25),(634,-7551.25),(636,-7551.25),(636,-8576.25)],
  [(636,-8576.25),(636,-8551.25),(642,-8551.25),(642,-7551.25),(644,-7551.25),(644,-8551.25),(650,-8551.25),(650,-7551.25),(652,-7551.25),(652,-8551.25),(658,-8551.25),(658,-7551.25),(660,-7551.25),(660,-8551.25),(666,-8551.25),(666,-7551.25),(668,-7551.25),(668,-8551.25),(674,-8551.25),(674,-7551.25),(676,-7551.25),(676,-8551.25),(682,-8551.25),(682,-7551.25),(684,-7551.25),(684,-8551.25),(690,-8551.25),(690,-7551.25),(692,-7551.25),(692,-8551.25),(698,-8551.25),(698,-7551.25),(700,-7551.25),(700,-8551.25),(706,-8551.25),(706,-7551.25),(708,-7551.25),(708,-8551.25),(714,-8551.25),(714,-7551.25),(716,-7551.25),(716,-8551.25),(722,-8551.25),(722,-7551.25),(724,-7551.25),(724,-8551.25),(730,-8551.25),(730,-7551.25),(732,-7551.25),(732,-8551.25),(738,-8551.25),(738,-7551.25),(740,-7551.25),(740,-8551.25),(746,-8551.25),(746,-7551.25),(748,-7551.25),(748,-8551.25),(754,-8551.25),(754,-7551.25),(756,-7551.25),(756,-8551.25),(762,-8551.25),(762,-7551.25),(764,-7551.25),(764,-8551.25),(770,-8551.25),(770,-7551.25),(772,-7551.25),(772,-8551.25),(778,-8551.25),(778,-7551.25),(780,-7551.25),(780,-8551.25),(786,-8551.25),(786,-7551.25),(788,-7551.25),(788,-8551.25),(794,-8551.25),(794,-7551.25),(796,-7551.25),(796,-8551.25),(802,-8551.25),(802,-7551.25),(804,-7551.25),(804,-8551.25),(810,-8551.25),(810,-7551.25),(812,-7551.25),(812,-8551.25),(818,-8551.25),(818,-7551.25),(820,-7551.25),(820,-8551.25),(826,-8551.25),(826,-7551.25),(828,-7551.25),(828,-8551.25),(834,-8551.25),(834,-7551.25),(836,-7551.25),(836,-8551.25),(842,-8551.25),(842,-7551.25),(844,-7551.25),(844,-8551.25),(850,-8551.25),(850,-7551.25),(852,-7551.25),(852,-8551.25),(858,-8551.25),(858,-7551.25),(860,-7551.25),(860,-8551.25),(866,-8551.25),(866,-7551.25),(868,-7551.25),(868,-8551.25),(874,-8551.25),(874,-7551.25),(876,-7551.25),(876,-8551.25),(882,-8551.25),(882,-7551.25),(884,-7551.25),(884,-8551.25),(890,-8551.25),(890,-8576.25)],
  [(890,-8576.25),(890,-7551.25),(892,-7551.25),(892,-8551.25),(898,-8551.25),(898,-7551.25),(900,-7551.25),(900,-8551.25),(906,-8551.25),(906,-7551.25),(908,-7551.25),(908,-8551.25),(914,-8551.25),(914,-7551.25),(916,-7551.25),(916,-8551.25),(922,-8551.25),(922,-7551.25),(924,-7551.25),(924,-8551.25),(930,-8551.25),(930,-7551.25),(932,-7551.25),(932,-8551.25),(938,-8551.25),(938,-7551.25),(940,-7551.25),(940,-8551.25),(946,-8551.25),(946,-7551.25),(948,-7551.25),(948,-8551.25),(954,-8551.25),(954,-7551.25),(956,-7551.25),(956,-8551.25),(962,-8551.25),(962,-7551.25),(964,-7551.25),(964,-8551.25),(970,-8551.25),(970,-7551.25),(972,-7551.25),(972,-8551.25),(978,-8551.25),(978,-7551.25),(980,-7551.25),(980,-8551.25),(986,-8551.25),(986,-7551.25),(988,-7551.25),(988,-8551.25),(994,-8551.25),(994,-7551.25),(996,-7551.25),(996,-8551.25),(1002,-8551.25),(1002,-7551.25),(1004,-7551.25),(1004,-8551.25),(1010,-8551.25),(1010,-7551.25),(1012,-7551.25),(1012,-8551.25),(1018,-8551.25),(1018,-7551.25),(1020,-7551.25),(1020,-8551.25),(1026,-8551.25),(1026,-7551.25),(1028,-7551.25),(1028,-8551.25),(1034,-8551.25),(1034,-7551.25),(1036,-7551.25),(1036,-8551.25),(1042,-8551.25),(1042,-7551.25),(1044,-7551.25),(1044,-8551.25),(1050,-8551.25),(1050,-7551.25),(1052,-7551.25),(1052,-8551.25),(1058,-8551.25),(1058,-7551.25),(1060,-7551.25),(1060,-8551.25),(1066,-8551.25),(1066,-7551.25),(1068,-7551.25),(1068,-8551.25),(1074,-8551.25),(1074,-7551.25),(1076,-7551.25),(1076,-8551.25),(1082,-8551.25),(1082,-7551.25),(1084,-7551.25),(1084,-8551.25),(1090,-8551.25),(1090,-7551.25),(1092,-7551.25),(1092,-8551.25),(1098,-8551.25),(1098,-7551.25),(1100,-7551.25),(1100,-8551.25),(1106,-8551.25),(1106,-7551.25),(1108,-7551.25),(1108,-8551.25),(1114,-8551.25),(1114,-7551.25),(1116,-7551.25),(1116,-8551.25),(1122,-8551.25),(1122,-7551.25),(1124,-7551.25),(1124,-8551.25),(1130,-8551.25),(1130,-7551.25),(1132,-7551.25),(1132,-8551.25),(1144.5,-8551.25),(1144.5,-8051.5),(1169.5,-8051.5),(1169.5,-8576.25)])

lib.write_gds('1930_ResoTank.gds')
